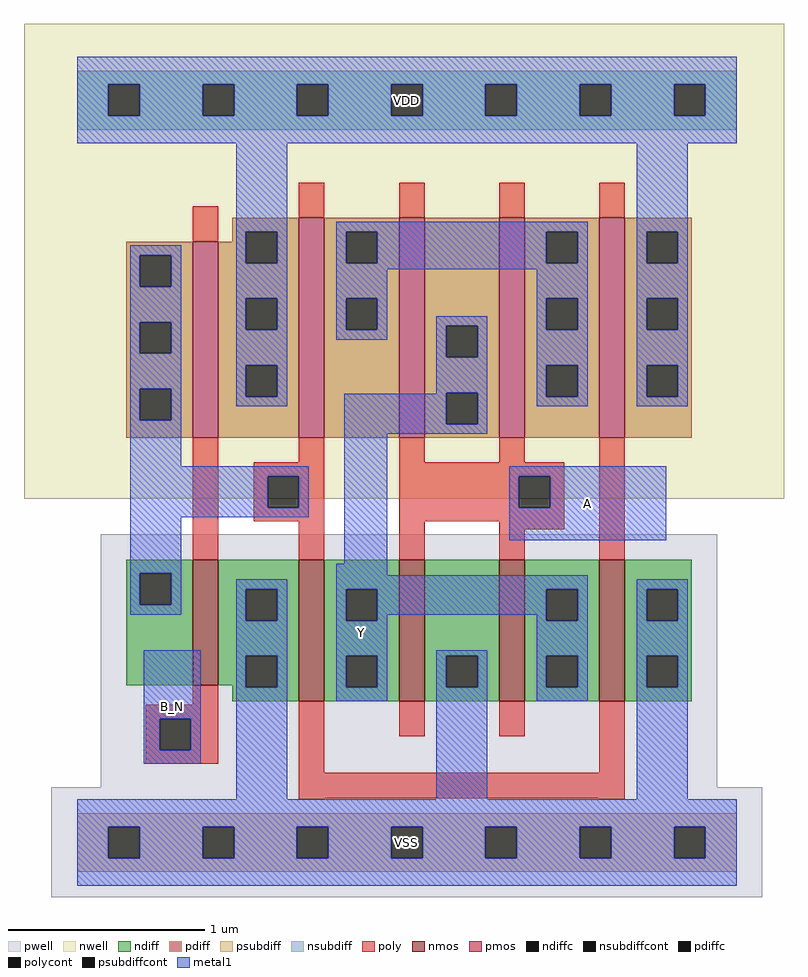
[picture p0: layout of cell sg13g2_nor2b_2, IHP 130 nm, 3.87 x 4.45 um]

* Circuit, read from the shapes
.subckt sg13g2_nor2b_2 A B_N VDD Y VSS
XM1 VSS B_N n1 VSS sg13_lv_nmos w=0.64u l=0.13u
XM2 Y n1 VSS VSS sg13_lv_nmos w=0.72u l=0.13u m=2
XM3 VSS A Y VSS sg13_lv_nmos w=0.72u l=0.13u m=2
XM4 VDD B_N n1 VDD sg13_lv_pmos w=1u l=0.13u
XM5 n2 n1 VDD VDD sg13_lv_pmos w=1.12u l=0.13u m=2
XM6 Y A n2 VDD sg13_lv_pmos w=1.12u l=0.13u m=2
.ends

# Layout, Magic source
magic
tech ihp-sg13g2
magscale 1 2
<< nwell >>
rect -54 350 720 834
<< pwell >>
rect 24 56 652 314
rect -26 -56 698 56
<< nmos >>
rect 118 160 144 288
rect 226 144 252 288
rect 328 144 354 288
rect 430 144 456 288
rect 532 144 558 288
<< pmos >>
rect 118 412 144 612
rect 226 412 252 636
rect 328 412 354 636
rect 430 412 456 636
rect 532 412 558 636
<< ndiff >>
rect 50 274 118 288
rect 50 242 64 274
rect 96 242 118 274
rect 50 160 118 242
rect 144 258 226 288
rect 144 226 172 258
rect 204 226 226 258
rect 144 190 226 226
rect 144 160 172 190
rect 158 158 172 160
rect 204 158 226 190
rect 158 144 226 158
rect 252 258 328 288
rect 252 226 274 258
rect 306 226 328 258
rect 252 190 328 226
rect 252 158 274 190
rect 306 158 328 190
rect 252 144 328 158
rect 354 190 430 288
rect 354 158 376 190
rect 408 158 430 190
rect 354 144 430 158
rect 456 258 532 288
rect 456 226 478 258
rect 510 226 532 258
rect 456 190 532 226
rect 456 158 478 190
rect 510 158 532 190
rect 456 144 532 158
rect 558 258 626 288
rect 558 226 580 258
rect 612 226 626 258
rect 558 190 626 226
rect 558 158 580 190
rect 612 158 626 190
rect 558 144 626 158
<< pdiff >>
rect 158 622 226 636
rect 158 612 172 622
rect 50 598 118 612
rect 50 566 64 598
rect 96 566 118 598
rect 50 530 118 566
rect 50 498 64 530
rect 96 498 118 530
rect 50 462 118 498
rect 50 430 64 462
rect 96 430 118 462
rect 50 412 118 430
rect 144 590 172 612
rect 204 590 226 622
rect 144 554 226 590
rect 144 522 172 554
rect 204 522 226 554
rect 144 486 226 522
rect 144 454 172 486
rect 204 454 226 486
rect 144 412 226 454
rect 252 622 328 636
rect 252 590 274 622
rect 306 590 328 622
rect 252 554 328 590
rect 252 522 274 554
rect 306 522 328 554
rect 252 412 328 522
rect 354 526 430 636
rect 354 494 376 526
rect 408 494 430 526
rect 354 458 430 494
rect 354 426 376 458
rect 408 426 430 458
rect 354 412 430 426
rect 456 622 532 636
rect 456 590 478 622
rect 510 590 532 622
rect 456 554 532 590
rect 456 522 478 554
rect 510 522 532 554
rect 456 486 532 522
rect 456 454 478 486
rect 510 454 532 486
rect 456 412 532 454
rect 558 622 626 636
rect 558 590 580 622
rect 612 590 626 622
rect 558 554 626 590
rect 558 522 580 554
rect 612 522 626 554
rect 558 486 626 522
rect 558 454 580 486
rect 612 454 626 486
rect 558 412 626 454
<< ndiffc >>
rect 64 242 96 274
rect 172 226 204 258
rect 172 158 204 190
rect 274 226 306 258
rect 274 158 306 190
rect 376 158 408 190
rect 478 226 510 258
rect 478 158 510 190
rect 580 226 612 258
rect 580 158 612 190
<< pdiffc >>
rect 64 566 96 598
rect 64 498 96 530
rect 64 430 96 462
rect 172 590 204 622
rect 172 522 204 554
rect 172 454 204 486
rect 274 590 306 622
rect 274 522 306 554
rect 376 494 408 526
rect 376 426 408 458
rect 478 590 510 622
rect 478 522 510 554
rect 478 454 510 486
rect 580 590 612 622
rect 580 522 612 554
rect 580 454 612 486
<< psubdiff >>
rect 0 16 672 30
rect 0 -16 32 16
rect 64 -16 128 16
rect 160 -16 224 16
rect 256 -16 320 16
rect 352 -16 416 16
rect 448 -16 512 16
rect 544 -16 608 16
rect 640 -16 672 16
rect 0 -30 672 -16
<< nsubdiff >>
rect 0 772 672 786
rect 0 740 32 772
rect 64 740 128 772
rect 160 740 224 772
rect 256 740 320 772
rect 352 740 416 772
rect 448 740 512 772
rect 544 740 608 772
rect 640 740 672 772
rect 0 726 672 740
<< psubdiffcont >>
rect 32 -16 64 16
rect 128 -16 160 16
rect 224 -16 256 16
rect 320 -16 352 16
rect 416 -16 448 16
rect 512 -16 544 16
rect 608 -16 640 16
<< nsubdiffcont >>
rect 32 740 64 772
rect 128 740 160 772
rect 224 740 256 772
rect 320 740 352 772
rect 416 740 448 772
rect 512 740 544 772
rect 608 740 640 772
<< poly >>
rect 118 612 144 648
rect 226 636 252 672
rect 328 636 354 672
rect 430 636 456 672
rect 532 636 558 672
rect 118 288 144 412
rect 226 387 252 412
rect 180 373 252 387
rect 180 341 194 373
rect 226 341 252 373
rect 180 327 252 341
rect 226 288 252 327
rect 328 387 354 412
rect 430 387 456 412
rect 328 373 496 387
rect 328 341 450 373
rect 482 341 496 373
rect 328 327 496 341
rect 328 288 354 327
rect 430 319 496 327
rect 430 288 456 319
rect 532 288 558 412
rect 118 140 144 160
rect 70 126 144 140
rect 70 94 84 126
rect 116 94 144 126
rect 70 80 144 94
rect 226 71 252 144
rect 328 108 354 144
rect 430 108 456 144
rect 532 71 558 144
rect 226 45 558 71
rect 226 44 252 45
rect 532 44 558 45
<< polycont >>
rect 194 341 226 373
rect 450 341 482 373
rect 84 94 116 126
<< metal1 >>
rect 0 772 672 800
rect 0 740 32 772
rect 64 740 128 772
rect 160 740 224 772
rect 256 740 320 772
rect 352 740 416 772
rect 448 740 512 772
rect 544 740 608 772
rect 640 740 672 772
rect 0 712 672 740
rect 162 622 214 712
rect 54 598 106 608
rect 54 566 64 598
rect 96 566 106 598
rect 54 530 106 566
rect 54 498 64 530
rect 96 498 106 530
rect 54 462 106 498
rect 54 430 64 462
rect 96 430 106 462
rect 162 590 172 622
rect 204 590 214 622
rect 162 554 214 590
rect 162 522 172 554
rect 204 522 214 554
rect 162 486 214 522
rect 264 622 520 632
rect 264 590 274 622
rect 306 590 478 622
rect 510 590 520 622
rect 264 584 520 590
rect 264 554 316 584
rect 264 522 274 554
rect 306 522 316 554
rect 468 554 520 584
rect 264 512 316 522
rect 366 526 418 536
rect 162 454 172 486
rect 204 454 214 486
rect 366 494 376 526
rect 408 494 418 526
rect 366 458 418 494
rect 366 457 376 458
rect 162 444 214 454
rect 54 383 106 430
rect 272 426 376 457
rect 408 426 418 458
rect 468 522 478 554
rect 510 522 520 554
rect 468 486 520 522
rect 468 454 478 486
rect 510 454 520 486
rect 468 444 520 454
rect 570 622 622 712
rect 570 590 580 622
rect 612 590 622 622
rect 570 554 622 590
rect 570 522 580 554
rect 612 522 622 554
rect 570 486 622 522
rect 570 454 580 486
rect 612 454 622 486
rect 570 444 622 454
rect 272 416 418 426
rect 54 373 236 383
rect 54 341 194 373
rect 226 341 236 373
rect 54 331 236 341
rect 54 274 106 331
rect 272 284 316 416
rect 440 373 600 383
rect 440 341 450 373
rect 482 341 600 373
rect 440 308 600 341
rect 54 242 64 274
rect 96 242 106 274
rect 264 272 316 284
rect 54 232 106 242
rect 162 258 214 268
rect 162 226 172 258
rect 204 226 214 258
rect 68 126 126 196
rect 68 94 84 126
rect 116 94 126 126
rect 68 80 126 94
rect 162 190 214 226
rect 162 158 172 190
rect 204 158 214 190
rect 162 44 214 158
rect 264 258 520 272
rect 264 226 274 258
rect 306 232 478 258
rect 306 226 316 232
rect 264 190 316 226
rect 468 226 478 232
rect 510 226 520 258
rect 264 158 274 190
rect 306 158 316 190
rect 264 144 316 158
rect 366 190 418 196
rect 366 158 376 190
rect 408 158 418 190
rect 366 44 418 158
rect 468 190 520 226
rect 468 158 478 190
rect 510 158 520 190
rect 468 144 520 158
rect 570 258 622 268
rect 570 226 580 258
rect 612 226 622 258
rect 570 190 622 226
rect 570 158 580 190
rect 612 158 622 190
rect 570 44 622 158
rect 0 16 672 44
rect 0 -16 32 16
rect 64 -16 128 16
rect 160 -16 224 16
rect 256 -16 320 16
rect 352 -16 416 16
rect 448 -16 512 16
rect 544 -16 608 16
rect 640 -16 672 16
rect 0 -44 672 -16
<< labels >>
flabel metal1 s 440 308 600 383 0 FreeSans 400 0 0 0 A
port 2 nsew
flabel metal1 s 68 80 126 196 0 FreeSans 400 0 0 0 B_N
port 3 nsew
flabel metal1 s 0 712 672 800 0 FreeSans 400 0 0 0 VDD
port 4 nsew
flabel metal1 s 264 144 316 284 0 FreeSans 400 0 0 0 Y
port 5 nsew
flabel metal1 s 0 -44 672 44 0 FreeSans 400 0 0 0 VSS
port 6 nsew
<< properties >>
string FIXED_BBOX 0 0 672 756
<< end >>
